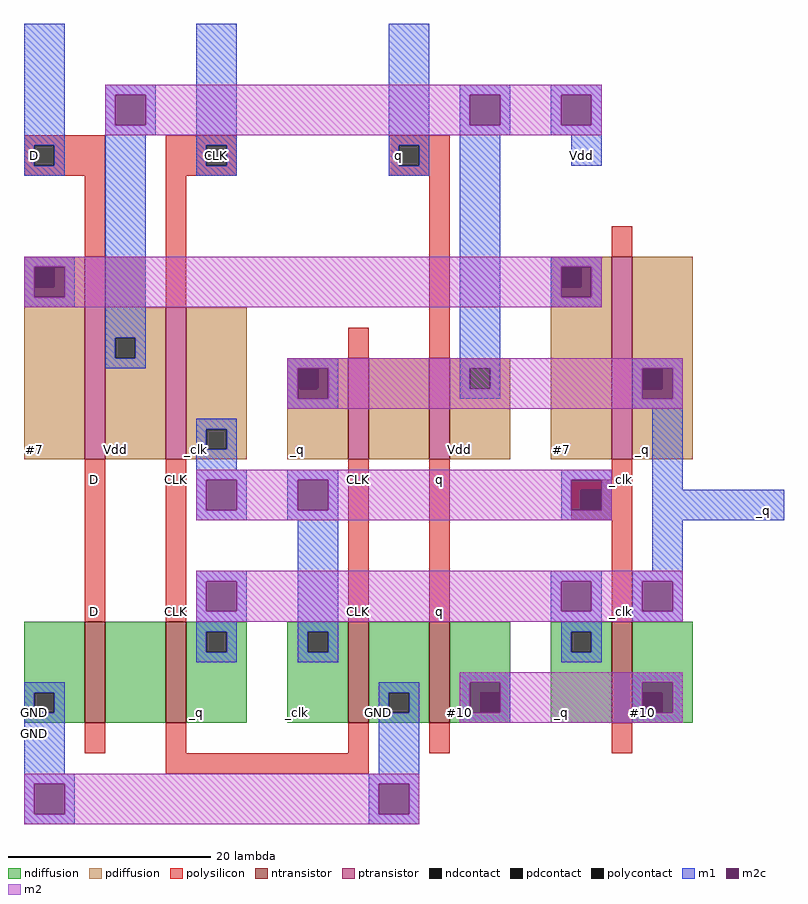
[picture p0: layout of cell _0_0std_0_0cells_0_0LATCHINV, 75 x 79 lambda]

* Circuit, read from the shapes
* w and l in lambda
.subckt _0_0std_0_0cells_0_0LATCHINV Vdd q
M1 n1 D GND VSUBS nfet w=10 l=2
M2 _q CLK n1 VSUBS nfet w=10 l=2
M3 GND CLK _clk VSUBS nfet w=10 l=2
M4 #10 q GND VSUBS nfet w=10 l=2
M5 #10 _clk _q VSUBS nfet w=10 l=2
M6 Vdd D #7 NWELL pfet w=20 l=2
M7 _clk CLK Vdd NWELL pfet w=15 l=2
M8 n2 CLK _q NWELL pfet w=10 l=2
M9 Vdd q n2 NWELL pfet w=10 l=2
M10 _q _clk #7 NWELL pfet w=20 l=2
.ends

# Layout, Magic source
magic
tech TSMC180
<< ndiffusion >>
rect 6 15 12 22
rect 6 13 7 15
rect 9 13 12 15
rect 6 12 12 13
rect 14 12 20 22
rect 22 21 28 22
rect 22 19 24 21
rect 26 19 28 21
rect 22 12 28 19
rect 32 21 38 22
rect 32 19 34 21
rect 36 19 38 21
rect 32 12 38 19
rect 40 15 46 22
rect 40 13 42 15
rect 44 13 46 15
rect 40 12 46 13
rect 48 15 54 22
rect 48 13 51 15
rect 53 13 54 15
rect 48 12 54 13
rect 58 21 64 22
rect 58 19 60 21
rect 62 19 64 21
rect 58 12 64 19
rect 66 15 72 22
rect 66 13 67 15
rect 69 13 72 15
rect 66 12 72 13
<< ndcontact >>
rect 7 13 9 15
rect 24 19 26 21
rect 34 19 36 21
rect 42 13 44 15
rect 51 13 53 15
rect 60 19 62 21
rect 67 13 69 15
<< ntransistor >>
rect 12 12 14 22
rect 20 12 22 22
rect 38 12 40 22
rect 46 12 48 22
rect 64 12 66 22
<< pdiffusion >>
rect 6 57 12 58
rect 6 55 7 57
rect 9 55 12 57
rect 6 38 12 55
rect 14 53 18 58
rect 14 50 20 53
rect 14 48 15 50
rect 17 48 20 50
rect 14 38 20 48
rect 22 41 28 53
rect 58 57 64 58
rect 58 55 59 57
rect 61 55 64 57
rect 22 39 24 41
rect 26 39 28 41
rect 22 38 28 39
rect 32 47 38 48
rect 32 45 33 47
rect 35 45 38 47
rect 32 38 38 45
rect 40 38 46 48
rect 48 47 54 48
rect 48 45 50 47
rect 52 45 54 47
rect 48 38 54 45
rect 58 38 64 55
rect 66 47 72 58
rect 66 45 67 47
rect 69 45 72 47
rect 66 38 72 45
<< pdcontact >>
rect 7 55 9 57
rect 15 48 17 50
rect 59 55 61 57
rect 24 39 26 41
rect 33 45 35 47
rect 50 45 52 47
rect 67 45 69 47
<< ptransistor >>
rect 12 38 14 58
rect 20 38 22 53
rect 38 38 40 48
rect 46 38 48 48
rect 64 38 66 58
<< polysilicon >>
rect 6 69 14 70
rect 6 67 7 69
rect 9 67 14 69
rect 6 66 14 67
rect 12 58 14 66
rect 20 69 27 70
rect 20 67 24 69
rect 26 67 27 69
rect 20 66 27 67
rect 42 69 48 70
rect 42 67 43 69
rect 45 67 48 69
rect 42 66 48 67
rect 20 53 22 66
rect 38 48 40 51
rect 46 48 48 66
rect 64 58 66 61
rect 12 22 14 38
rect 20 22 22 38
rect 38 22 40 38
rect 46 22 48 38
rect 64 36 66 38
rect 60 35 66 36
rect 60 33 61 35
rect 63 33 66 35
rect 60 32 66 33
rect 64 22 66 32
rect 12 9 14 12
rect 20 9 22 12
rect 38 9 40 12
rect 46 9 48 12
rect 64 9 66 12
rect 20 7 40 9
<< polycontact >>
rect 7 67 9 69
rect 24 67 26 69
rect 43 67 45 69
rect 61 33 63 35
<< m1 >>
rect 6 69 10 81
rect 6 67 7 69
rect 9 67 10 69
rect 6 66 10 67
rect 14 74 19 75
rect 14 71 15 74
rect 18 71 19 74
rect 14 70 19 71
rect 6 57 11 58
rect 6 54 7 57
rect 10 54 11 57
rect 6 53 11 54
rect 14 50 18 70
rect 23 69 27 81
rect 23 67 24 69
rect 26 67 27 69
rect 23 66 27 67
rect 42 69 46 81
rect 42 67 43 69
rect 45 67 46 69
rect 42 66 46 67
rect 49 74 54 75
rect 49 71 50 74
rect 53 71 54 74
rect 49 70 54 71
rect 58 74 63 75
rect 58 71 59 74
rect 62 71 63 74
rect 58 70 63 71
rect 14 48 15 50
rect 17 48 18 50
rect 14 47 18 48
rect 32 47 37 48
rect 32 44 33 47
rect 36 44 37 47
rect 49 47 53 70
rect 60 67 63 70
rect 58 57 63 58
rect 58 54 59 57
rect 62 54 63 57
rect 58 53 63 54
rect 49 45 50 47
rect 52 45 53 47
rect 49 44 53 45
rect 66 47 71 48
rect 66 44 67 47
rect 70 44 71 47
rect 32 43 37 44
rect 66 43 71 44
rect 23 41 27 42
rect 23 39 24 41
rect 26 39 27 41
rect 23 37 27 39
rect 23 36 28 37
rect 23 33 24 36
rect 27 33 28 36
rect 23 32 28 33
rect 32 36 37 37
rect 32 33 33 36
rect 36 33 37 36
rect 32 32 37 33
rect 59 36 64 37
rect 59 33 60 36
rect 63 33 64 36
rect 59 32 64 33
rect 68 35 71 43
rect 68 32 81 35
rect 23 26 28 27
rect 23 23 24 26
rect 27 23 28 26
rect 23 22 28 23
rect 23 21 27 22
rect 23 19 24 21
rect 26 19 27 21
rect 23 18 27 19
rect 33 21 37 32
rect 68 27 71 32
rect 58 26 63 27
rect 58 23 59 26
rect 62 23 63 26
rect 58 22 63 23
rect 66 26 71 27
rect 66 23 67 26
rect 70 23 71 26
rect 66 22 71 23
rect 33 19 34 21
rect 36 19 37 21
rect 33 18 37 19
rect 59 21 63 22
rect 59 19 60 21
rect 62 19 63 21
rect 59 18 63 19
rect 49 16 54 17
rect 6 15 10 16
rect 6 13 7 15
rect 9 13 10 15
rect 6 7 10 13
rect 41 15 45 16
rect 41 13 42 15
rect 44 13 45 15
rect 41 7 45 13
rect 49 13 50 16
rect 53 13 54 16
rect 49 12 54 13
rect 66 16 71 17
rect 66 13 67 16
rect 70 13 71 16
rect 66 12 71 13
rect 6 6 11 7
rect 6 3 7 6
rect 10 3 11 6
rect 6 2 11 3
rect 40 6 45 7
rect 40 3 41 6
rect 44 3 45 6
rect 40 2 45 3
<< m2c >>
rect 15 71 18 74
rect 7 55 9 57
rect 9 55 10 57
rect 7 54 10 55
rect 50 71 53 74
rect 59 71 62 74
rect 33 45 35 47
rect 35 45 36 47
rect 33 44 36 45
rect 59 55 61 57
rect 61 55 62 57
rect 59 54 62 55
rect 67 45 69 47
rect 69 45 70 47
rect 67 44 70 45
rect 24 33 27 36
rect 33 33 36 36
rect 60 35 63 36
rect 60 33 61 35
rect 61 33 63 35
rect 24 23 27 26
rect 59 23 62 26
rect 67 23 70 26
rect 50 15 53 16
rect 50 13 51 15
rect 51 13 53 15
rect 67 15 70 16
rect 67 13 69 15
rect 69 13 70 15
rect 7 3 10 6
rect 41 3 44 6
<< m2 >>
rect 14 74 63 75
rect 14 71 15 74
rect 18 71 50 74
rect 53 71 59 74
rect 62 71 63 74
rect 14 70 63 71
rect 6 57 63 58
rect 6 54 7 57
rect 10 54 59 57
rect 62 54 63 57
rect 6 53 63 54
rect 32 47 71 48
rect 32 44 33 47
rect 36 44 67 47
rect 70 44 71 47
rect 32 43 71 44
rect 23 36 64 37
rect 23 33 24 36
rect 27 33 33 36
rect 36 33 60 36
rect 63 33 64 36
rect 23 32 64 33
rect 23 26 71 27
rect 23 23 24 26
rect 27 23 59 26
rect 62 23 67 26
rect 70 23 71 26
rect 23 22 71 23
rect 49 16 71 17
rect 49 13 50 16
rect 53 13 67 16
rect 70 13 71 16
rect 49 12 71 13
rect 6 6 45 7
rect 6 3 7 6
rect 10 3 41 6
rect 44 3 45 6
rect 6 2 45 3
<< labels >>
rlabel pdiffusion 23 39 23 39 3 _clk
rlabel ndiffusion 23 13 23 13 3 _q
rlabel polysilicon 21 23 21 23 3 CLK
rlabel polysilicon 21 36 21 36 3 CLK
rlabel pdiffusion 15 39 15 39 3 Vdd
rlabel polysilicon 13 23 13 23 3 D
rlabel polysilicon 13 36 13 36 3 D
rlabel ndiffusion 7 13 7 13 3 GND
rlabel pdiffusion 7 39 7 39 3 #7
rlabel ndiffusion 49 13 49 13 3 #10
rlabel pdiffusion 49 39 49 39 3 Vdd
rlabel polysilicon 47 23 47 23 3 q
rlabel polysilicon 47 36 47 36 3 q
rlabel ndiffusion 41 13 41 13 3 GND
rlabel polysilicon 39 23 39 23 3 CLK
rlabel polysilicon 39 36 39 36 3 CLK
rlabel ndiffusion 33 13 33 13 3 _clk
rlabel pdiffusion 33 39 33 39 3 _q
rlabel ndiffusion 67 13 67 13 3 #10
rlabel pdiffusion 67 39 67 39 3 _q
rlabel polysilicon 65 23 65 23 3 _clk
rlabel polysilicon 65 36 65 36 3 _clk
rlabel ndiffusion 59 13 59 13 3 _q
rlabel pdiffusion 59 39 59 39 3 #7
rlabel m1 61 68 61 68 3 Vdd
port 2 e
rlabel m1 43 68 43 68 3 q
port 3 e
rlabel m1 7 68 7 68 4 D
rlabel polycontact 25 68 25 68 5 CLK
rlabel m1 79 33 79 33 7 _q
rlabel m1 7 11 7 11 2 GND
<< end >>
